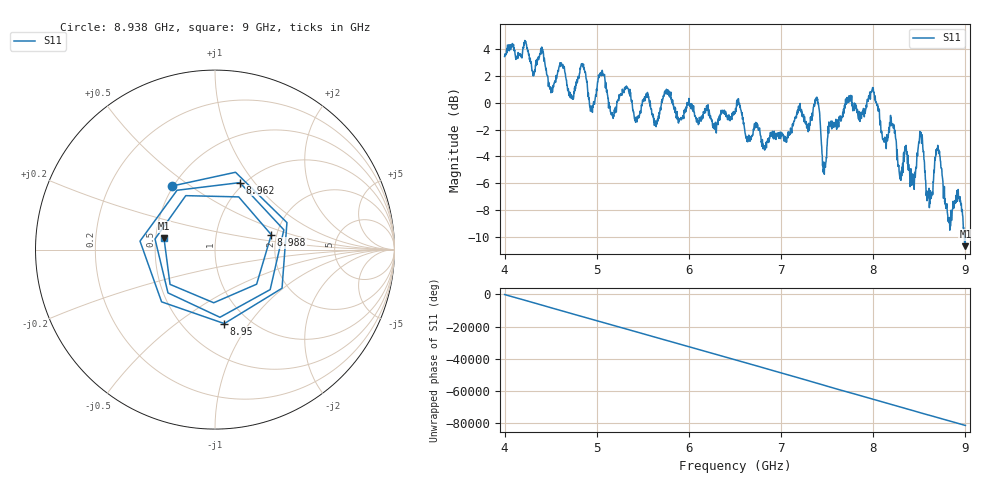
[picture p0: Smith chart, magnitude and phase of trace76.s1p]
! Created with skrf 1.8.0 (http://scikit-rf.org).
# Hz S RI R 50.0
!freq ReS11 ImS11
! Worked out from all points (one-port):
!   1601 points, 4 GHz to 9 GHz, reference 50 ohm
!   lowest |S11| = -10.7 dB at 9 GHz (marker M1), VSWR 1.82, Z = 27.7 + j3.84 ohm
!   |S11| at or under -10 dB: 8.989046 GHz to 8.996939 GHz (7.894 MHz wide, 0.0878 % of centre); 8.997048 GHz to end of sweep
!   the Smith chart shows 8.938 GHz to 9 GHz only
!   S11 on the Smith chart (normalised r, x): 8.938 GHz: 0.49, +0.43; 8.95 GHz: 0.77, -0.77; 8.962 GHz: 0.95, +0.85; 8.988 GHz: 1.87, +0.35; 9 GHz: 0.55, +0.08
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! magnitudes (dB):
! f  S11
! 4 GHz  3.5
! 4.625 GHz  2.8
! 4.725 GHz  0.6
! 4.853 GHz  2.8
! 4.944 GHz  -0.4
! 5.044 GHz  2.3
! 5.162 GHz  -0.9
! 5.25 GHz  0.6
! 5.875 GHz  -1.2
! 6.5 GHz  -0.7
! 6.816 GHz  -3.3
! 7.125 GHz  -1.6
! 7.391 GHz  0.2
! 7.469 GHz  -5.3
! 7.75 GHz  0.5
! 7.997 GHz  0.9
! 8.291 GHz  -5.7
! 8.375 GHz  -3.9
! 8.438 GHz  -6.0
! 8.516 GHz  -2.5
! 8.609 GHz  -7.8
! 8.7 GHz  -3.2
! 8.816 GHz  -8.6
! 8.938 GHz  -7.4
! 8.95 GHz  -7.6
! 8.962 GHz  -8.0
! 8.988 GHz  -9.8
! 9 GHz  -10.7
